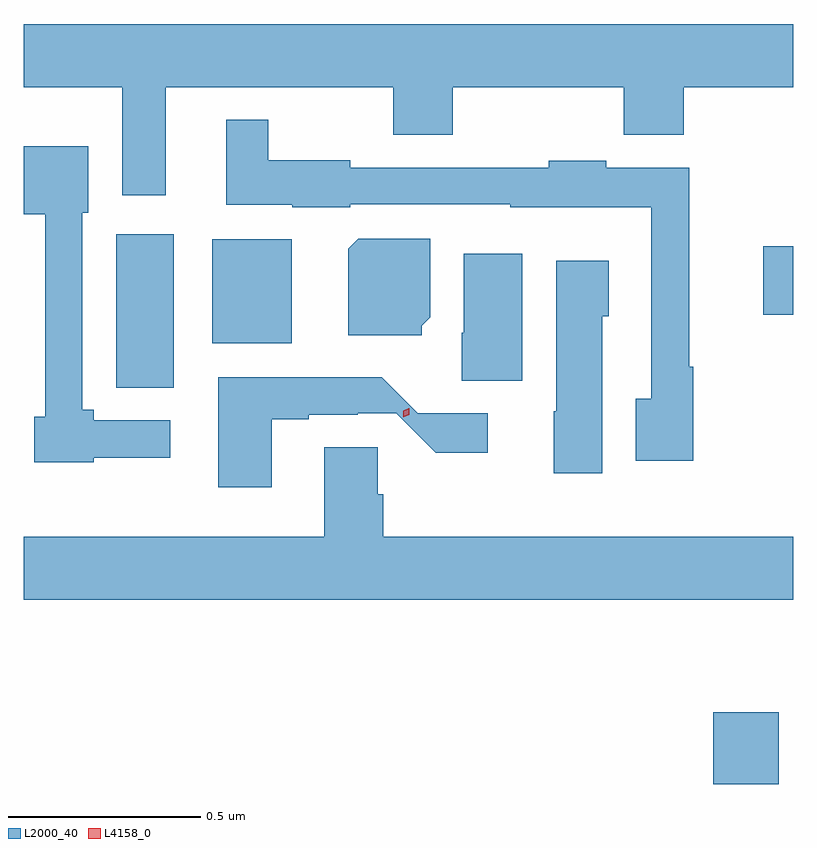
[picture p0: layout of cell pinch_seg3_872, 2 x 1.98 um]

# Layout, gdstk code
import gdstk
lib = gdstk.Library(unit=1e-6, precision=1e-09)
def R(c, l, rs):  # rectangles x0, y0, x1, y1
    for r in rs: c.add(gdstk.rectangle(r[:2], r[2:], *l))
def P(c, l, *ps):  # polygons
    for p in ps: c.add(gdstk.Polygon(p, *l))
L2000_40 = (2000, 40)
L4158_0 = (4158, 0)

pinch_seg3_872 = lib.new_cell('pinch_seg3_872')
R(pinch_seg3_872, L2000_40, [(666.83,676.461,667,676.648), (665.279,677.491,665.428,677.89), (665.528,677.606,665.734,677.876), (666.96,677.681,667.038,677.859)])
P(pinch_seg3_872, L2000_40, [(665.407,678.272),(665.998,678.272),(665.998,678.148),(666.153,678.148),(666.153,678.272),(666.598,678.272),(666.598,678.148),(666.753,678.148),(666.753,678.272),(667.038,678.272),(667.038,678.436),(665.038,678.436),(665.038,678.272),(665.294,678.272),(665.294,677.991),(665.407,677.991)],
  [(666.778,677.545),(666.767,677.545),(666.767,678.063),(666.552,678.063),(666.552,678.081),(666.402,678.081),(666.402,678.063),(665.886,678.063),(665.886,678.082),(665.674,678.082),(665.674,678.187),(665.564,678.187),(665.564,677.966),(665.736,677.966),(665.736,677.96),(665.886,677.96),(665.886,677.967),(666.303,677.967),(666.303,677.96),(666.669,677.96),(666.669,677.462),(666.629,677.462),(666.629,677.301),(666.778,677.301)],
  [(665.22,677.309),(665.419,677.309),(665.419,677.406),(665.22,677.406),(665.22,677.434),(665.19,677.434),(665.19,677.946),(665.206,677.946),(665.206,678.118),(665.038,678.118),(665.038,677.942),(665.094,677.942),(665.094,677.415),(665.066,677.415),(665.066,677.297),(665.22,677.297)],
  [(666.072,677.652),(666.094,677.674),(666.094,677.878),(665.908,677.878),(665.882,677.852),(665.882,677.627),(666.072,677.627)],
  [(666.334,677.839),(666.182,677.839),(666.182,677.634),(666.176,677.634),(666.176,677.509),(666.334,677.509)],
  [(666.541,677.676),(666.559,677.676),(666.559,677.821),(666.422,677.821),(666.422,677.43),(666.416,677.43),(666.416,677.268),(666.541,677.268)],
  [(665.683,677.409),(665.779,677.409),(665.779,677.421),(665.906,677.421),(665.906,677.424),(666.006,677.424),(666.109,677.322),(666.244,677.322),(666.244,677.424),(666.062,677.424),(665.968,677.518),(665.543,677.518),(665.543,677.232),(665.683,677.232)],
  [(667.038,677.104),(665.972,677.104),(665.972,677.214),(665.958,677.214),(665.958,677.336),(665.819,677.336),(665.819,677.104),(665.038,677.104),(665.038,676.94),(667.038,676.94)])
P(pinch_seg3_872, L4158_0, [(666.024,677.414),(666.024,677.431),(666.039,677.437),(666.039,677.437),(666.04,677.437),(666.04,677.42),(666.025,677.414),(666.025,677.414)])

lib.write_gds('pinch_seg3_872.gds')
